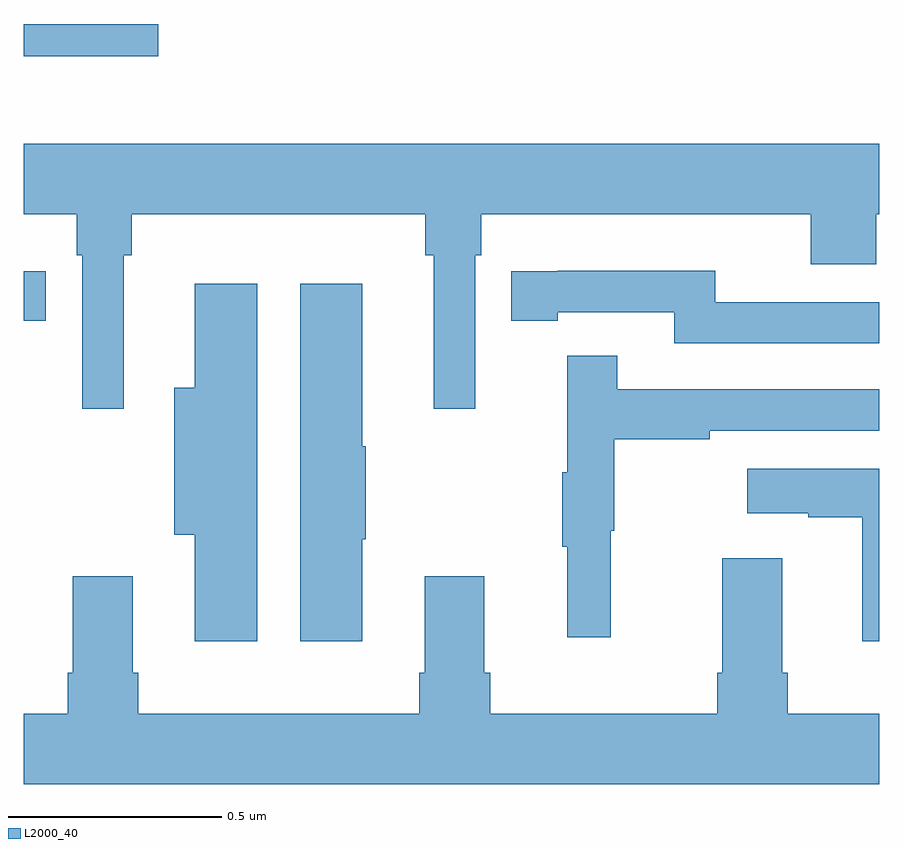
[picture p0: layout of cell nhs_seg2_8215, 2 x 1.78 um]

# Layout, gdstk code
import gdstk
lib = gdstk.Library(unit=1e-6, precision=1e-09)
def R(c, l, rs):  # rectangles x0, y0, x1, y1
    for r in rs: c.add(gdstk.rectangle(r[:2], r[2:], *l))
def P(c, l, *ps):  # polygons
    for p in ps: c.add(gdstk.Polygon(p, *l))
L2000_40 = (2000, 40)

nhs_seg2_8215 = lib.new_cell('nhs_seg2_8215')
R(nhs_seg2_8215, L2000_40, [(214,594.106,214.052,594.222), (214,594.725,214.315,594.8)])
P(nhs_seg2_8215, L2000_40, [(214.234,594.26),(214.253,594.26),(214.253,594.356),(214.939,594.356),(214.939,594.26),(214.958,594.26),(214.958,593.901),(215.055,593.901),(215.055,594.26),(215.069,594.26),(215.069,594.356),(215.84,594.356),(215.84,594.239),(215.993,594.239),(215.993,594.356),(216,594.356),(216,594.52),(214,594.52),(214,594.356),(214.124,594.356),(214.124,594.26),(214.137,594.26),(214.137,593.901),(214.234,593.901)],
  [(216,594.15),(215.616,594.15),(215.616,594.223),(215.248,594.223),(215.248,594.222),(215.14,594.222),(215.14,594.106),(215.248,594.106),(215.248,594.126),(215.52,594.126),(215.52,594.054),(216,594.054)],
  [(214.792,593.596),(214.8,593.596),(214.8,593.813),(214.792,593.813),(214.792,594.193),(214.646,594.193),(214.646,593.358),(214.792,593.358)],
  [(214.546,594.193),(214.4,594.193),(214.4,593.95),(214.352,593.95),(214.352,593.606),(214.4,593.606),(214.4,593.358),(214.546,593.358)],
  [(215.372,593.616),(215.38,593.616),(215.38,593.83),(215.603,593.83),(215.603,593.85),(216,593.85),(216,593.946),(215.387,593.946),(215.387,594.025),(215.27,594.025),(215.27,593.753),(215.259,593.753),(215.259,593.579),(215.27,593.579),(215.27,593.367),(215.372,593.367)],
  [(216,593.761),(215.691,593.761),(215.691,593.657),(215.834,593.657),(215.834,593.647),(215.96,593.647),(215.96,593.358),(216,593.358)],
  [(216,593.188),(215.786,593.188),(215.786,593.284),(215.773,593.284),(215.773,593.551),(215.633,593.551),(215.633,593.284),(215.621,593.284),(215.621,593.188),(215.09,593.188),(215.09,593.284),(215.077,593.284),(215.077,593.509),(214.937,593.509),(214.937,593.284),(214.925,593.284),(214.925,593.188),(214.268,593.188),(214.268,593.284),(214.255,593.284),(214.255,593.509),(214.115,593.509),(214.115,593.284),(214.103,593.284),(214.103,593.188),(214,593.188),(214,593.024),(216,593.024)])

lib.write_gds('nhs_seg2_8215.gds')
